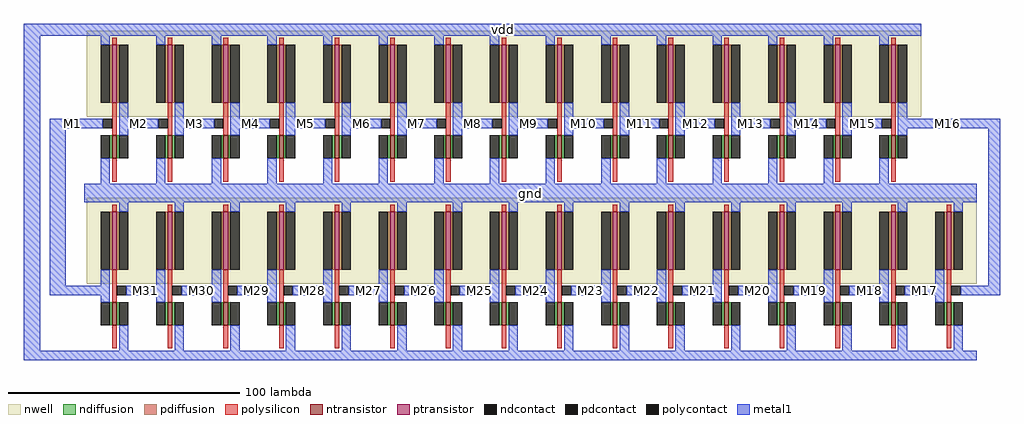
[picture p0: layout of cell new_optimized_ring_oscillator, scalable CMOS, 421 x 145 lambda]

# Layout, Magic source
magic
tech scmos
<< metal1 >>
rect -27 68 360 73
rect -27 -68 -20 68
rect -16 28 4 32
rect 14 28 31 32
rect 38 28 55 32
rect 62 28 79 32
rect 86 28 103 32
rect 110 28 127 32
rect 134 28 151 32
rect 158 28 175 32
rect 182 28 199 32
rect 206 28 223 32
rect 230 28 247 32
rect 254 28 271 32
rect 278 28 295 32
rect 302 28 319 32
rect 326 28 343 32
rect 350 28 394 32
rect -16 -40 -9 28
rect -1 -4 384 4
rect 389 -40 394 28
rect -16 -44 10 -40
rect 17 -44 34 -40
rect 41 -44 58 -40
rect 65 -44 82 -40
rect 89 -44 106 -40
rect 113 -44 130 -40
rect 137 -44 154 -40
rect 161 -44 178 -40
rect 185 -44 202 -40
rect 209 -44 226 -40
rect 233 -44 250 -40
rect 257 -44 274 -40
rect 281 -44 298 -40
rect 305 -44 322 -40
rect 329 -44 346 -40
rect 353 -44 370 -40
rect 384 -44 394 -40
rect -27 -72 2 -68
use inverter_wo_label_Q5  inverter_wo_label_Q5_0
array 0 14 24 0 0 72
transform 1 0 0 0 1 33
box 0 -33 24 39
use inverter_wo_label_Q5  inverter_wo_label_Q5_1
array 0 15 -24 0 0 72
transform -1 0 24 0 1 -39
box 0 -33 24 39
<< labels >>
rlabel metal1 0 68 360 73 5 vdd
rlabel metal1 -1 -4 384 4 1 gnd
rlabel metal1 -16 28 4 32 1 M1
rlabel metal1 14 28 31 32 1 M2
rlabel metal1 38 28 55 32 1 M3
rlabel metal1 62 28 79 32 1 M4
rlabel metal1 86 28 103 32 1 M5
rlabel metal1 110 28 127 32 1 M6
rlabel metal1 134 28 151 32 1 M7
rlabel metal1 158 28 175 32 1 M8
rlabel metal1 182 28 199 32 1 M9
rlabel metal1 206 28 223 32 1 M10
rlabel metal1 230 28 247 32 1 M11
rlabel metal1 254 28 271 32 1 M12
rlabel metal1 278 28 295 32 1 M13
rlabel metal1 302 28 319 32 1 M14
rlabel metal1 326 28 343 32 1 M15
rlabel metal1 350 28 393 32 1 M16
rlabel metal1 353 -44 370 -40 1 M17
rlabel metal1 329 -44 346 -40 1 M18
rlabel metal1 305 -44 322 -40 1 M19
rlabel metal1 281 -44 298 -40 1 M20
rlabel metal1 257 -44 274 -40 1 M21
rlabel metal1 233 -44 250 -40 1 M22
rlabel metal1 209 -44 226 -40 1 M23
rlabel metal1 185 -44 202 -40 1 M24
rlabel metal1 161 -44 178 -40 1 M25
rlabel metal1 137 -44 154 -40 1 M26
rlabel metal1 113 -44 130 -40 1 M27
rlabel metal1 89 -44 106 -40 1 M28
rlabel metal1 65 -44 82 -40 1 M29
rlabel metal1 41 -44 58 -40 1 M30
rlabel metal1 17 -44 34 -40 1 M31
<< end >>

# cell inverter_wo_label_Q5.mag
magic
tech scmos
<< nwell >>
rect 0 0 24 37
<< ntransistor >>
rect 11 -18 13 -8
<< ptransistor >>
rect 11 6 13 31
<< ndiffusion >>
rect 10 -18 11 -8
rect 13 -18 14 -8
<< pdiffusion >>
rect 10 6 11 31
rect 13 6 14 31
<< ndcontact >>
rect 6 -18 10 -8
rect 14 -18 18 -8
<< pdcontact >>
rect 6 6 10 31
rect 14 6 18 31
<< polysilicon >>
rect 11 31 13 34
rect 11 -8 13 6
rect 11 -28 13 -18
<< polycontact >>
rect 7 -5 11 -1
<< metal1 >>
rect 0 35 24 39
rect 6 31 10 35
rect 14 -1 18 6
rect 0 -5 7 -1
rect 14 -5 24 -1
rect 14 -8 18 -5
rect 6 -29 10 -18
rect 0 -33 24 -29
<< end >>
